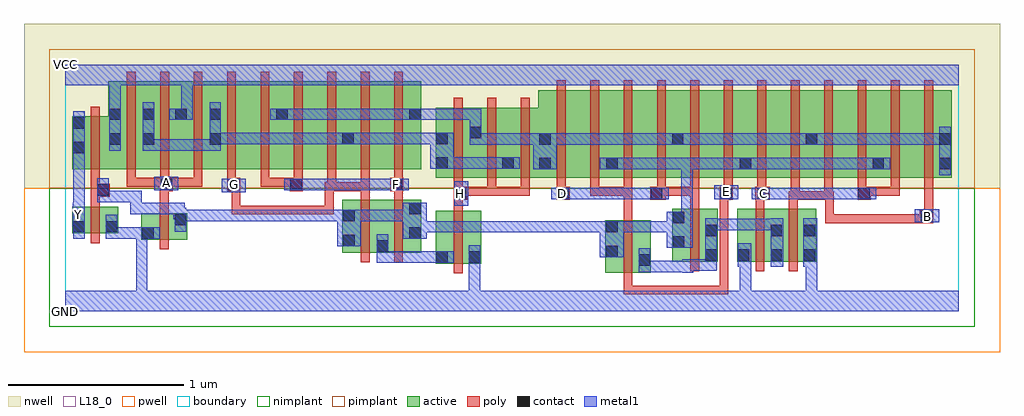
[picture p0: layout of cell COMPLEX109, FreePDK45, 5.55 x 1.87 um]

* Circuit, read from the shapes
.subckt COMPLEX109 A B C D E F G GND H VCC Y
M1 GND n1 Y VSUBS nfet w=0.15u l=0.05u
M2 n1 A GND VSUBS nfet w=0.15u l=0.05u
M3 n2 G n1 VSUBS nfet w=0.3u l=0.05u
M4 n1 F n2 VSUBS nfet w=0.3u l=0.05u
M5 GND H n2 VSUBS nfet w=0.3u l=0.05u
M6 n3 E n1 VSUBS nfet w=0.3u l=0.05u
M7 n3 D n1 VSUBS nfet w=0.3u l=0.05u
M8 n3 C GND VSUBS nfet w=0.3u l=0.05u
M9 GND B n3 VSUBS nfet w=0.3u l=0.05u
M10 VCC n1 Y n4 pfet w=0.3u l=0.05u
M11 n5 A VCC n4 pfet w=0.5u l=0.05u m=3
M12 n6 G n5 n4 pfet w=0.5u l=0.05u
M13 n7 F n6 n4 pfet w=0.5u l=0.05u
M14 n8 F n7 n4 pfet w=0.5u l=0.05u
M15 n5 G n8 n4 pfet w=0.5u l=0.05u
M16 n9 G n5 n4 pfet w=0.5u l=0.05u
M17 n7 F n9 n4 pfet w=0.5u l=0.05u
M18 n7 H n5 n4 pfet w=0.4u l=0.05u m=3
M19 n10 D n7 n4 pfet w=0.5u l=0.05u
M20 n1 E n10 n4 pfet w=0.5u l=0.05u
M21 n11 E n1 n4 pfet w=0.5u l=0.05u
M22 n7 D n11 n4 pfet w=0.5u l=0.05u
M23 n12 D n7 n4 pfet w=0.5u l=0.05u
M24 n1 E n12 n4 pfet w=0.5u l=0.05u
M25 n13 C n1 n4 pfet w=0.5u l=0.05u
M26 n7 B n13 n4 pfet w=0.5u l=0.05u
M27 n14 B n7 n4 pfet w=0.5u l=0.05u
M28 n1 C n14 n4 pfet w=0.5u l=0.05u
M29 n15 C n1 n4 pfet w=0.5u l=0.05u
M30 n7 B n15 n4 pfet w=0.5u l=0.05u
.ends

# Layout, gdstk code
import gdstk
lib = gdstk.Library(unit=1e-6, precision=1e-09)
def R(c, l, rs):  # rectangles x0, y0, x1, y1
    for r in rs: c.add(gdstk.rectangle(r[:2], r[2:], *l))
def A(c, l, x, y, w, h, nx, ny, dx, dy):  # array of equal rectangles
    R(c, l, [(x+i*dx, y+j*dy, x+i*dx+w, y+j*dy+h) for i in range(nx) for j in range(ny)])
active = (1, 0)
pwell = (2, 0)
nwell = (3, 0)
nimplant = (4, 0)
pimplant = (5, 0)
poly = (9, 0)
contact = (10, 0)
metal1 = (11, 0)
L18_0 = (18, 0)
boundary = (235, 0)

complex109 = lib.new_cell('COMPLEX109')
A(complex109, active, 3.445, 0.757, 0.075, 0.443, 3, 1, 0.76, 0)
A(complex109, active, 4.055, 0.757, 0.225, 0.5, 3, 1, 0.38, 0)
A(complex109, active, 0.435, 0.807, 0.075, 0.393, 3, 1, 0.38, 0)
R(complex109, active, [(3.07,0.217,3.145,0.517), (3.07,0.217,3.33,0.517), (3.255,0.217,3.33,0.517), (2.105,0.27,2.18,0.57), (2.105,0.27,2.365,0.57), (2.29,0.27,2.365,0.57), (3.45,0.282,3.71,0.582), (3.635,0.282,3.71,0.582), (3.82,0.282,3.895,0.582), (3.82,0.282,4.08,0.582), (4.005,0.282,4.27,0.582), (4.005,0.282,4.08,0.497), (4.195,0.282,4.27,0.582), (3.45,0.33,3.525,0.582), (1.575,0.332,1.84,0.632), (1.765,0.332,2.025,0.632), (1.765,0.332,1.84,0.497), (1.95,0.332,2.025,0.632), (1.575,0.345,1.65,0.632), (0.432,0.407,0.692,0.557), (0.432,0.407,0.507,0.557), (0.04,0.442,0.3,0.592), (0.04,0.442,0.115,0.592), (0.225,0.442,0.3,0.592), (0.617,0.482,0.692,0.557), (2.105,0.757,2.18,1.07), (2.105,0.757,2.37,1.157), (2.295,0.757,2.555,1.157), (2.295,0.757,2.37,1.155), (2.48,0.757,2.555,1.07), (2.48,0.757,2.765,1.157), (2.69,0.757,2.765,1.2), (2.69,0.757,2.915,1.257), (2.915,0.757,3.145,1.257), (3.07,0.757,3.295,1.257), (3.07,0.757,3.145,1.07), (3.295,0.757,3.52,1.257), (3.445,0.757,3.675,1.257), (3.675,0.757,3.905,1.257), (3.83,0.757,4.055,1.257), (3.83,0.757,3.905,1.07), (4.205,0.757,4.435,1.257), (4.585,0.757,4.815,1.257), (4.585,0.757,4.66,1.07), (0.04,0.807,0.115,1.107), (0.04,0.807,0.32,1.107), (0.245,0.807,0.32,1.307), (0.245,0.807,0.51,1.307), (0.435,0.807,0.695,1.307), (0.62,0.807,0.89,1.307), (0.62,0.807,0.695,1.307), (0.815,0.807,1.04,1.307), (1.04,0.807,1.27,1.307), (1.195,0.807,1.42,1.307), (1.42,0.807,1.645,1.307), (1.57,0.807,1.8,1.307), (1.57,0.807,1.645,1.07), (1.8,0.807,2.025,1.307), (1.95,0.807,2.025,1.2)])
R(complex109, pwell, [(-0.235,-0.235,5.315,0.7)])
R(complex109, nwell, [(-0.235,0.7,5.315,1.635)])
R(complex109, nimplant, [(-0.09,-0.09,5.17,0.7)])
R(complex109, pimplant, [(-0.09,0.7,5.17,1.49)])
A(complex109, poly, 2.21, 0.657, 0.05, 0.095, 3, 1, 0.19, 0)
A(complex109, poly, 2.795, 0.657, 0.05, 0.095, 7, 1, 0.19, 0)
A(complex109, poly, 2.21, 0.702, 0.05, 0.51, 3, 1, 0.19, 0)
A(complex109, poly, 2.795, 0.702, 0.05, 0.61, 12, 1, 0.19, 0)
A(complex109, poly, 0.35, 0.707, 0.05, 0.095, 6, 1, 0.19, 0)
A(complex109, poly, 0.35, 0.752, 0.05, 0.61, 9, 1, 0.19, 0)
R(complex109, poly, [(3.175,0.095,3.225,0.145), (3.175,0.095,3.225,0.145), (3.175,0.095,3.225,0.145), (3.175,0.095,3.357,0.145), (3.175,0.095,3.225,0.212), (3.307,0.095,3.357,0.145), (3.307,0.095,3.357,0.145), (3.307,0.095,3.357,0.145), (3.307,0.095,3.637,0.145), (3.587,0.095,3.637,0.145), (3.587,0.095,3.77,0.145), (3.72,0.095,3.77,0.145), (3.72,0.095,3.77,0.145), (3.72,0.095,3.77,0.145), (3.72,0.095,3.77,0.145), (3.72,0.095,3.77,0.145), (3.72,0.095,3.77,0.145), (3.72,0.095,3.77,0.145), (3.72,0.095,3.77,0.145), (3.72,0.095,3.77,0.145), (3.72,0.095,3.77,0.682), (3.175,0.162,3.225,0.572), (2.21,0.215,2.26,0.625), (3.555,0.227,3.605,0.637), (3.925,0.227,3.975,0.637), (4.115,0.227,4.165,0.637), (1.68,0.277,1.73,0.687), (1.87,0.277,1.92,0.687), (0.537,0.352,0.587,0.612), (0.145,0.387,0.195,0.647), (4.32,0.5,4.37,0.682), (4.32,0.5,4.38,0.55), (4.33,0.5,4.38,0.55), (4.33,0.5,4.38,0.55), (4.33,0.5,4.38,0.55), (4.33,0.5,4.38,0.55), (4.33,0.5,4.512,0.55), (4.462,0.5,4.512,0.55), (4.462,0.5,4.777,0.55), (4.727,0.5,4.777,0.55), (4.727,0.5,4.777,0.55), (4.727,0.5,4.777,0.55), (4.727,0.5,4.91,0.55), (4.86,0.5,4.91,0.55), (4.86,0.5,4.91,0.55), (4.86,0.5,4.91,0.55), (4.86,0.5,4.91,0.55), (4.86,0.5,4.91,0.55), (4.86,0.5,4.91,0.55), (4.86,0.5,4.935,0.575), (3.175,0.522,3.225,0.707), (4.885,0.525,4.935,0.752), (0.945,0.55,0.995,0.6), (0.945,0.55,0.995,0.6), (0.945,0.55,0.995,0.6), (0.945,0.55,1.127,0.6), (0.945,0.55,0.995,0.732), (1.077,0.55,1.127,0.6), (1.077,0.55,1.127,0.6), (1.077,0.55,1.127,0.6), (1.077,0.55,1.392,0.6), (1.342,0.55,1.392,0.6), (1.342,0.55,1.392,0.6), (1.342,0.55,1.392,0.6), (1.342,0.55,1.525,0.6), (1.475,0.55,1.525,0.6), (1.475,0.55,1.525,0.6), (1.475,0.55,1.525,0.6), (1.475,0.55,1.525,0.6), (1.475,0.55,1.525,0.6), (1.475,0.55,1.525,0.732), (0.537,0.562,0.587,0.732), (2.21,0.575,2.26,0.682), (3.555,0.587,3.605,0.707), (3.925,0.587,3.975,0.682), (4.115,0.587,4.165,0.682), (0.145,0.597,0.195,0.7), (2.21,0.632,2.285,0.707), (2.792,0.632,2.867,0.707), (3.325,0.632,3.415,0.707), (3.72,0.632,3.795,0.707), (3.922,0.632,4.007,0.707), (4.115,0.632,4.175,0.682), (4.125,0.632,4.175,0.682), (4.125,0.632,4.175,0.682), (4.125,0.632,4.175,0.752), (4.125,0.632,4.365,0.682), (4.315,0.632,4.365,0.752), (4.315,0.632,4.37,0.682), (4.505,0.632,4.58,0.707), (1.68,0.637,1.73,0.732), (1.87,0.637,1.92,0.732), (0.145,0.65,0.252,0.725), (2.235,0.657,2.285,0.707), (2.235,0.657,2.285,0.707), (2.235,0.657,2.45,0.707), (2.4,0.657,2.45,0.707), (2.4,0.657,2.64,0.707), (2.59,0.657,2.64,0.707), (2.59,0.657,2.64,0.707), (2.59,0.657,2.64,0.707), (2.985,0.657,3.035,0.707), (2.985,0.657,3.035,0.707), (2.985,0.657,3.035,0.707), (2.985,0.657,3.225,0.707), (3.175,0.657,3.225,0.707), (3.365,0.657,3.605,0.707), (3.555,0.657,3.605,0.707), (3.555,0.657,3.605,0.707), (3.555,0.657,3.605,0.707), (4.505,0.657,4.555,0.752), (4.53,0.657,4.58,0.707), (4.53,0.657,4.58,0.707), (4.53,0.657,4.745,0.707), (4.695,0.657,4.745,0.707), (4.695,0.657,4.745,0.752), (0.145,0.675,0.195,0.802), (0.537,0.682,0.612,0.757), (0.92,0.682,0.995,0.757), (1.275,0.682,1.35,0.757), (1.475,0.682,1.54,0.732), (1.49,0.682,1.54,0.802), (1.49,0.682,1.73,0.732), (1.68,0.682,1.73,0.732), (1.68,0.682,1.73,0.732), (1.68,0.682,1.73,0.732), (1.68,0.682,1.73,0.802), (1.847,0.682,1.922,0.757), (0.35,0.707,0.4,0.757), (0.35,0.707,0.587,0.757), (0.537,0.707,0.587,0.757), (0.537,0.707,0.587,0.757), (0.562,0.707,0.78,0.757), (0.73,0.707,0.78,0.757), (0.73,0.707,0.78,0.757), (0.73,0.707,0.78,0.757), (1.11,0.707,1.16,0.757), (1.11,0.707,1.325,0.757), (1.275,0.707,1.325,0.757), (1.275,0.707,1.325,0.757), (1.87,0.707,1.92,0.802), (0.145,0.752,0.195,1.162)])
A(complex109, contact, 3.64, 0.287, 0.065, 0.065, 3, 1, 0.185, 0)
R(complex109, contact, [(3.26,0.257,3.325,0.322), (2.11,0.275,2.175,0.34), (2.295,0.275,2.36,0.34), (4.2,0.287,4.265,0.352), (3.075,0.307,3.14,0.372), (1.77,0.337,1.835,0.402), (3.455,0.36,3.52,0.425), (1.58,0.37,1.645,0.435), (0.437,0.412,0.502,0.477), (1.955,0.412,2.02,0.477), (3.64,0.427,3.705,0.492), (4.01,0.427,4.075,0.492), (4.2,0.427,4.265,0.492), (0.045,0.447,0.11,0.512), (0.23,0.447,0.295,0.512), (3.075,0.447,3.14,0.512), (0.622,0.487,0.687,0.552), (3.455,0.5,3.52,0.565), (4.865,0.505,4.93,0.57), (1.58,0.51,1.645,0.575), (1.955,0.552,2.02,0.617), (2.215,0.637,2.28,0.702), (2.797,0.637,2.862,0.702), (3.33,0.637,3.395,0.702), (3.725,0.637,3.79,0.702), (3.937,0.637,4.002,0.702), (4.51,0.637,4.575,0.702), (0.182,0.655,0.247,0.72), (0.542,0.687,0.607,0.752), (0.925,0.687,0.99,0.752), (1.28,0.687,1.345,0.752), (1.852,0.687,1.917,0.752), (2.695,0.807,2.76,0.872), (3.075,0.807,3.14,0.872), (3.835,0.807,3.9,0.872), (4.59,0.807,4.655,0.872), (4.97,0.807,5.035,0.872), (2.11,0.81,2.175,0.875), (2.485,0.81,2.55,0.875), (0.045,0.897,0.11,0.962), (3.45,0.945,3.515,1.01), (4.21,0.945,4.275,1.01), (0.25,0.947,0.315,1.012), (0.44,0.947,0.505,1.012), (0.82,0.947,0.885,1.012), (2.695,0.947,2.76,1.012), (4.97,0.947,5.035,1.012), (1.575,0.95,1.64,1.015), (2.11,0.95,2.175,1.015), (2.3,0.982,2.365,1.047), (0.045,1.037,0.11,1.102), (0.25,1.087,0.315,1.152), (0.44,1.087,0.505,1.152), (0.625,1.087,0.69,1.152), (0.82,1.087,0.885,1.152), (1.2,1.087,1.265,1.152), (1.955,1.087,2.02,1.152)])
R(complex109, metal1, [(0,0,5.08,0.115), (0.402,0.05,0.467,0.115), (0.402,0.05,0.467,0.115), (0.402,0.05,0.467,0.115), (0.402,0.05,0.467,0.115), (0.402,0.05,0.467,0.115), (0.402,0.05,0.467,0.115), (0.402,0.05,0.467,0.477), (2.295,0.05,2.36,0.115), (2.295,0.05,2.36,0.115), (2.295,0.05,2.36,0.305), (3.835,0.05,3.9,0.115), (3.835,0.05,3.9,0.115), (3.835,0.05,3.9,0.115), (3.835,0.05,3.9,0.115), (3.835,0.05,3.9,0.317), (4.21,0.05,4.275,0.115), (4.21,0.05,4.275,0.115), (4.21,0.05,4.275,0.317), (3.507,0.217,3.572,0.295), (3.26,0.222,3.325,0.287), (3.26,0.222,3.325,0.287), (3.26,0.222,3.567,0.287), (3.26,0.222,3.325,0.357), (3.502,0.222,3.567,0.287), (3.502,0.222,3.572,0.287), (3.507,0.23,3.705,0.295), (3.64,0.23,3.705,0.527), (2.295,0.24,2.36,0.305), (2.295,0.24,2.36,0.305), (2.295,0.24,2.36,0.375), (3.825,0.252,3.9,0.387), (4.01,0.252,4.082,0.527), (4.197,0.252,4.275,0.527), (4.21,0.252,4.275,0.317), (4.21,0.252,4.275,0.317), (1.77,0.275,2.14,0.34), (1.77,0.275,1.835,0.367), (2.075,0.275,2.14,0.34), (2.075,0.275,2.14,0.34), (2.075,0.275,2.21,0.34), (1.77,0.302,1.835,0.367), (1.77,0.302,1.835,0.437), (3.04,0.307,3.175,0.512), (3.42,0.36,3.567,0.565), (1.545,0.37,1.68,0.575), (0.045,0.412,0.11,0.547), (0.23,0.412,0.295,0.547), (0.23,0.412,0.385,0.477), (0.32,0.412,0.385,0.477), (0.32,0.412,0.467,0.477), (0.402,0.412,0.537,0.477), (1.92,0.412,2.055,0.617), (1.99,0.447,2.122,0.512), (2.057,0.447,2.122,0.512), (2.057,0.447,2.36,0.512), (2.295,0.447,2.36,0.512), (2.295,0.447,2.36,0.512), (2.295,0.447,2.36,0.512), (2.295,0.447,2.502,0.512), (2.437,0.447,2.502,0.512), (2.437,0.447,2.502,0.512), (2.437,0.447,2.502,0.512), (2.437,0.447,2.657,0.512), (2.592,0.447,2.657,0.512), (2.592,0.447,2.657,0.512), (2.592,0.447,2.657,0.512), (2.592,0.447,2.897,0.512), (2.832,0.447,2.897,0.512), (2.832,0.447,2.932,0.512), (2.867,0.447,2.932,0.512), (2.867,0.447,3.037,0.512), (2.972,0.447,3.037,0.512), (2.972,0.447,3.105,0.512), (3.11,0.447,3.175,0.512), (3.11,0.447,3.175,0.512), (3.11,0.447,3.312,0.512), (3.247,0.447,3.312,0.512), (3.247,0.447,3.312,0.512), (3.247,0.447,3.312,0.512), (3.247,0.447,3.485,0.512), (0.622,0.452,0.687,0.587), (3.64,0.46,3.71,0.525), (3.645,0.46,3.71,0.525), (3.645,0.46,3.905,0.525), (3.84,0.46,3.905,0.525), (3.84,0.46,3.905,0.525), (3.84,0.46,3.905,0.525), (3.84,0.46,4.075,0.525), (0.042,0.482,0.11,0.617), (0.045,0.482,0.11,0.547), (3.502,0.5,3.567,0.872), (4.83,0.505,4.97,0.58), (0.622,0.51,0.817,0.575), (0.752,0.51,0.817,0.575), (0.752,0.51,0.955,0.575), (0.89,0.51,0.955,0.575), (0.89,0.51,0.955,0.575), (0.89,0.51,0.955,0.575), (0.89,0.51,1.092,0.575), (1.027,0.51,1.092,0.575), (1.027,0.51,1.092,0.575), (1.027,0.51,1.092,0.575), (1.027,0.51,1.3,0.575), (1.235,0.51,1.3,0.575), (1.235,0.51,1.3,0.575), (1.235,0.51,1.3,0.575), (1.235,0.51,1.437,0.575), (1.372,0.51,1.437,0.575), (1.372,0.51,1.537,0.575), (1.472,0.51,1.537,0.575), (1.472,0.51,1.61,0.575), (1.615,0.51,1.68,0.575), (1.615,0.51,1.68,0.575), (1.615,0.51,1.817,0.575), (1.752,0.51,1.817,0.575), (1.752,0.51,1.985,0.575), (1.92,0.51,1.985,0.575), (1.92,0.51,1.985,0.575), (0.615,0.522,0.687,0.587), (0.615,0.522,0.68,0.615), (0.37,0.55,0.435,0.615), (0.37,0.55,0.435,0.685), (0.37,0.55,0.68,0.615), (0.045,0.552,0.11,0.927), (2.212,0.6,2.29,0.737), (0.182,0.62,0.247,0.685), (0.182,0.62,0.247,0.685), (0.182,0.62,0.247,0.755), (0.182,0.62,0.435,0.685), (0.37,0.62,0.435,0.685), (0.37,0.62,0.435,0.685), (0.37,0.62,0.435,0.685), (2.762,0.637,2.897,0.702), (2.832,0.637,2.967,0.702), (2.902,0.637,2.967,0.702), (2.902,0.637,3.035,0.702), (2.97,0.637,3.035,0.702), (2.97,0.637,3.175,0.702), (3.11,0.637,3.175,0.702), (3.11,0.637,3.175,0.702), (3.11,0.637,3.175,0.702), (3.11,0.637,3.312,0.702), (3.247,0.637,3.312,0.702), (3.247,0.637,3.36,0.702), (3.295,0.637,3.43,0.702), (3.69,0.637,3.827,0.715), (3.902,0.637,4.037,0.702), (3.972,0.637,4.072,0.702), (4.007,0.637,4.072,0.702), (4.007,0.637,4.21,0.702), (4.145,0.637,4.21,0.702), (4.145,0.637,4.21,0.702), (4.145,0.637,4.21,0.702), (4.145,0.637,4.347,0.702), (4.282,0.637,4.347,0.702), (4.282,0.637,4.482,0.702), (4.417,0.637,4.482,0.702), (4.417,0.637,4.54,0.702), (4.475,0.637,4.61,0.702), (0.89,0.675,1.027,0.752), (0.507,0.687,0.642,0.765), (1.245,0.687,1.38,0.752), (1.315,0.687,1.437,0.752), (1.372,0.687,1.437,0.752), (1.372,0.687,1.537,0.752), (1.472,0.687,1.537,0.752), (1.472,0.687,1.575,0.752), (1.51,0.687,1.575,0.752), (1.51,0.687,1.675,0.752), (1.61,0.687,1.675,0.752), (1.61,0.687,1.817,0.752), (1.752,0.687,1.817,0.752), (1.752,0.687,1.882,0.752), (1.817,0.687,1.952,0.752), (4.97,0.772,5.035,1.047), (2.66,0.807,2.795,1.012), (3.04,0.807,3.175,0.872), (3.11,0.807,3.175,0.872), (3.11,0.807,3.175,0.872), (3.11,0.807,3.312,0.872), (3.247,0.807,3.312,0.872), (3.247,0.807,3.312,0.872), (3.247,0.807,3.312,0.872), (3.247,0.807,3.567,0.872), (3.502,0.807,3.567,0.872), (3.502,0.807,3.567,0.872), (3.502,0.807,3.567,0.872), (3.502,0.807,3.567,0.872), (3.502,0.807,3.567,0.872), (3.502,0.807,3.707,0.872), (3.642,0.807,3.707,0.872), (3.642,0.807,3.71,0.872), (3.645,0.807,3.71,0.872), (3.645,0.807,3.865,0.872), (3.8,0.807,3.935,0.872), (3.87,0.807,3.935,0.872), (3.87,0.807,3.935,0.872), (3.87,0.807,4.072,0.872), (4.007,0.807,4.072,0.872), (4.007,0.807,4.21,0.872), (4.145,0.807,4.21,0.872), (4.145,0.807,4.345,0.872), (4.28,0.807,4.345,0.872), (4.28,0.807,4.347,0.872), (4.282,0.807,4.347,0.872), (4.282,0.807,4.482,0.872), (4.417,0.807,4.482,0.872), (4.417,0.807,4.62,0.872), (4.555,0.807,4.62,0.872), (4.555,0.807,4.62,0.872), (4.555,0.807,4.69,0.872), (2.075,0.81,2.21,1.015), (2.145,0.81,2.36,0.875), (2.295,0.81,2.36,0.875), (2.295,0.81,2.36,0.875), (2.295,0.81,2.36,0.875), (2.295,0.81,2.515,0.875), (2.45,0.81,2.515,0.875), (2.45,0.81,2.515,0.875), (2.45,0.81,2.585,0.875), (0.045,0.862,0.11,1.137), (0.25,0.912,0.315,1.187), (0.44,0.912,0.505,1.187), (0.44,0.912,0.572,0.977), (0.507,0.912,0.572,0.977), (0.507,0.912,0.747,0.977), (0.682,0.912,0.747,0.977), (0.682,0.912,0.817,0.977), (0.752,0.912,0.817,0.977), (0.752,0.912,0.885,0.977), (0.82,0.912,0.885,1.187), (2.73,0.945,2.795,1.01), (2.73,0.945,2.795,1.01), (2.73,0.945,2.932,1.01), (2.867,0.945,2.932,1.01), (2.867,0.945,3.037,1.01), (2.972,0.945,3.037,1.01), (2.972,0.945,3.175,1.01), (3.11,0.945,3.175,1.01), (3.11,0.945,3.175,1.01), (3.11,0.945,3.175,1.01), (3.11,0.945,3.312,1.01), (3.247,0.945,3.312,1.01), (3.247,0.945,3.312,1.01), (3.247,0.945,3.312,1.01), (3.247,0.945,3.48,1.01), (3.415,0.945,3.55,1.01), (3.485,0.945,3.567,1.01), (3.502,0.945,3.567,1.01), (3.502,0.945,3.705,1.01), (3.64,0.945,3.705,1.01), (3.64,0.945,3.71,1.01), (3.645,0.945,3.71,1.01), (3.645,0.945,3.845,1.01), (3.78,0.945,3.845,1.01), (3.78,0.945,4.072,1.01), (4.007,0.945,4.072,1.01), (4.007,0.945,4.072,1.01), (4.007,0.945,4.072,1.01), (4.007,0.945,4.21,1.01), (4.145,0.945,4.21,1.01), (4.145,0.945,4.24,1.01), (4.175,0.945,4.31,1.01), (4.245,0.945,4.347,1.01), (4.282,0.945,4.347,1.01), (4.282,0.945,4.482,1.01), (4.417,0.945,4.482,1.01), (4.417,0.945,4.62,1.01), (4.555,0.945,4.62,1.01), (4.555,0.945,4.62,1.01), (4.555,0.945,4.62,1.01), (4.555,0.945,4.757,1.01), (4.692,0.945,4.757,1.01), (4.692,0.945,4.757,1.01), (4.692,0.945,4.757,1.01), (4.692,0.945,5.035,1.01), (4.97,0.945,5.035,1.01), (4.97,0.945,5.035,1.01), (2.3,0.947,2.502,1.012), (2.3,0.947,2.365,1.082), (2.437,0.947,2.502,1.012), (2.437,0.947,2.502,1.012), (2.437,0.947,2.502,1.012), (2.437,0.947,2.652,1.012), (2.587,0.947,2.652,1.012), (2.587,0.947,2.725,1.012), (0.82,0.95,0.955,1.015), (0.89,0.95,0.955,1.015), (0.89,0.95,1.092,1.015), (1.027,0.95,1.092,1.015), (1.027,0.95,1.092,1.015), (1.027,0.95,1.092,1.015), (1.027,0.95,1.23,1.015), (1.165,0.95,1.23,1.015), (1.165,0.95,1.232,1.015), (1.167,0.95,1.232,1.015), (1.167,0.95,1.437,1.015), (1.372,0.95,1.437,1.015), (1.372,0.95,1.537,1.015), (1.472,0.95,1.537,1.015), (1.472,0.95,1.605,1.015), (1.54,0.95,1.675,1.015), (1.61,0.95,1.675,1.015), (1.61,0.95,1.675,1.015), (1.61,0.95,1.847,1.015), (1.782,0.95,1.847,1.015), (1.782,0.95,1.847,1.015), (1.782,0.95,1.847,1.015), (1.782,0.95,2.14,1.015), (2.075,0.95,2.14,1.015), (2.075,0.95,2.14,1.015), (2.3,1.017,2.365,1.082), (2.3,1.017,2.365,1.152), (0.59,1.087,0.725,1.152), (0.66,1.087,0.725,1.35), (1.165,1.087,1.3,1.152), (1.235,1.087,1.3,1.152), (1.235,1.087,1.3,1.152), (1.235,1.087,1.437,1.152), (1.372,1.087,1.437,1.152), (1.372,1.087,1.537,1.152), (1.472,1.087,1.537,1.152), (1.472,1.087,1.675,1.152), (1.61,1.087,1.675,1.152), (1.61,1.087,1.675,1.152), (1.61,1.087,1.675,1.152), (1.61,1.087,1.817,1.152), (1.752,1.087,1.817,1.152), (1.752,1.087,1.985,1.152), (1.92,1.087,1.985,1.152), (1.92,1.087,1.985,1.152), (1.92,1.087,2.055,1.152), (1.99,1.087,2.222,1.152), (2.157,1.087,2.222,1.152), (2.157,1.087,2.365,1.152), (0.25,1.122,0.315,1.35), (0,1.285,5.08,1.4)])
R(complex109, L18_0, [(0,0,5.08,0.115), (0.402,0.05,0.467,0.115), (0.402,0.05,0.467,0.115), (0.402,0.05,0.467,0.115), (0.402,0.05,0.467,0.115), (0.402,0.05,0.467,0.115), (0.402,0.05,0.467,0.115), (0.402,0.05,0.467,0.477), (2.295,0.05,2.36,0.115), (2.295,0.05,2.36,0.115), (2.295,0.05,2.36,0.305), (3.835,0.05,3.9,0.115), (3.835,0.05,3.9,0.115), (3.835,0.05,3.9,0.115), (3.835,0.05,3.9,0.115), (3.835,0.05,3.9,0.317), (4.21,0.05,4.275,0.115), (4.21,0.05,4.275,0.115), (4.21,0.05,4.275,0.317), (2.295,0.24,2.36,0.375), (2.295,0.24,2.36,0.305), (2.295,0.24,2.36,0.305), (3.825,0.252,3.9,0.387), (4.197,0.252,4.275,0.527), (4.21,0.252,4.275,0.317), (4.21,0.252,4.275,0.317), (0.045,0.412,0.11,0.547), (0.23,0.412,0.295,0.547), (0.23,0.412,0.385,0.477), (0.32,0.412,0.385,0.477), (0.32,0.412,0.467,0.477), (0.402,0.412,0.537,0.477), (0.042,0.482,0.11,0.617), (0.045,0.482,0.11,0.547), (4.83,0.505,4.97,0.58), (4.867,0.507,4.932,0.572), (0.042,0.517,0.107,0.582), (0.045,0.552,0.11,0.927), (2.212,0.6,2.29,0.737), (2.212,0.637,2.277,0.702), (2.762,0.637,2.897,0.702), (2.797,0.637,2.862,0.702), (2.832,0.637,2.967,0.702), (2.902,0.637,2.967,0.702), (2.902,0.637,3.035,0.702), (2.97,0.637,3.035,0.702), (2.97,0.637,3.175,0.702), (3.11,0.637,3.175,0.702), (3.11,0.637,3.175,0.702), (3.11,0.637,3.175,0.702), (3.11,0.637,3.312,0.702), (3.247,0.637,3.312,0.702), (3.247,0.637,3.36,0.702), (3.295,0.637,3.43,0.702), (3.69,0.637,3.827,0.715), (3.902,0.637,4.037,0.702), (3.937,0.637,4.002,0.702), (3.972,0.637,4.072,0.702), (4.007,0.637,4.072,0.702), (4.007,0.637,4.21,0.702), (4.145,0.637,4.21,0.702), (4.145,0.637,4.21,0.702), (4.145,0.637,4.21,0.702), (4.145,0.637,4.347,0.702), (4.282,0.637,4.347,0.702), (4.282,0.637,4.482,0.702), (4.417,0.637,4.482,0.702), (4.417,0.637,4.54,0.702), (4.475,0.637,4.61,0.702), (3.727,0.647,3.792,0.712), (0.89,0.675,1.027,0.752), (0.507,0.687,0.642,0.765), (0.927,0.687,0.992,0.752), (1.245,0.687,1.38,0.752), (1.315,0.687,1.437,0.752), (1.372,0.687,1.437,0.752), (1.372,0.687,1.537,0.752), (1.472,0.687,1.537,0.752), (1.472,0.687,1.575,0.752), (1.51,0.687,1.575,0.752), (1.51,0.687,1.675,0.752), (1.61,0.687,1.675,0.752), (1.61,0.687,1.817,0.752), (1.752,0.687,1.817,0.752), (1.752,0.687,1.882,0.752), (1.817,0.687,1.952,0.752), (1.852,0.687,1.917,0.752), (0.542,0.697,0.607,0.762), (0.045,0.862,0.11,1.137), (0.25,0.912,0.315,1.187), (0.59,1.087,0.725,1.152), (0.66,1.087,0.725,1.35), (0.25,1.122,0.315,1.35), (0,1.285,5.08,1.4)])
R(complex109, boundary, [(0,0,5.08,1.4)])
complex109.add(gdstk.Label('A', (0.575,0.73), layer=11, texttype=0))
complex109.add(gdstk.Label('B', (4.9,0.54), layer=11, texttype=0))
complex109.add(gdstk.Label('C', (3.97,0.67), layer=11, texttype=0))
complex109.add(gdstk.Label('D', (2.83,0.67), layer=11, texttype=0))
complex109.add(gdstk.Label('E', (3.76,0.68), layer=11, texttype=0))
complex109.add(gdstk.Label('F', (1.885,0.72), layer=11, texttype=0))
complex109.add(gdstk.Label('G', (0.96,0.72), layer=11, texttype=0))
complex109.add(gdstk.Label('H', (2.245,0.67), layer=11, texttype=0))
complex109.add(gdstk.Label('Y', (0.075,0.55), layer=11, texttype=0))
complex109.add(gdstk.Label('VCC', (0,1.4), layer=11, texttype=0))
complex109.add(gdstk.Label('GND', (0,0), layer=11, texttype=0))

lib.write_gds('COMPLEX109.gds')
